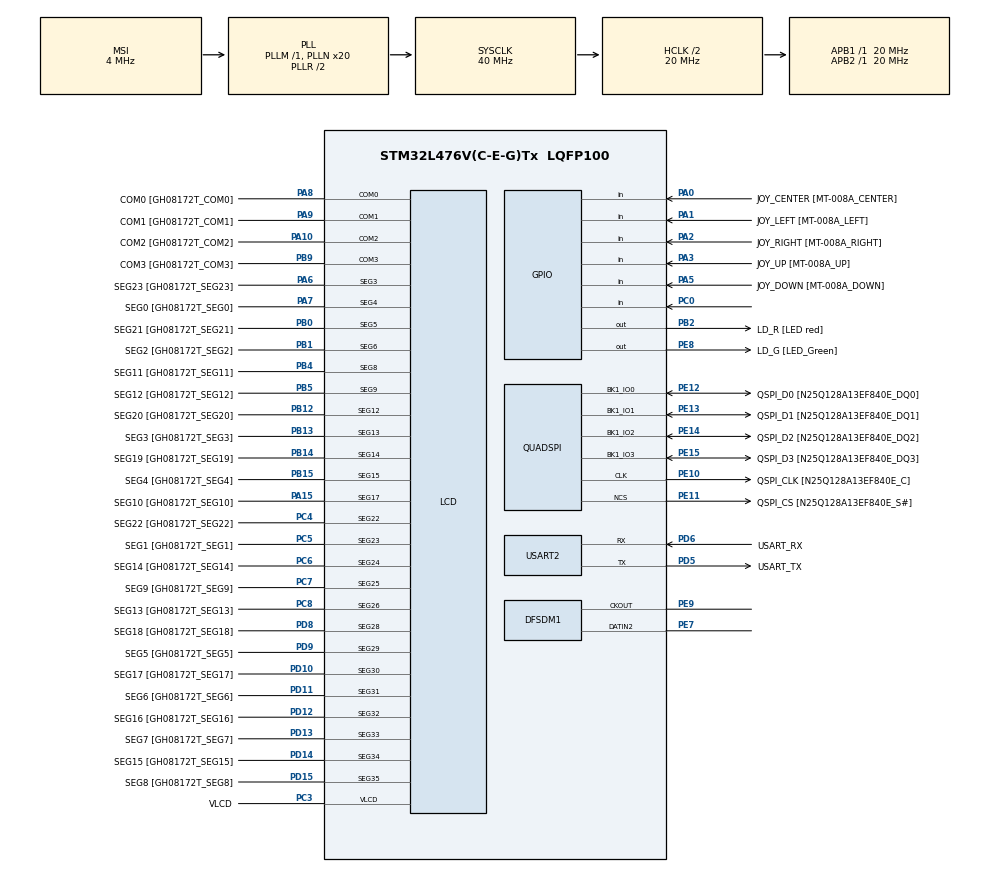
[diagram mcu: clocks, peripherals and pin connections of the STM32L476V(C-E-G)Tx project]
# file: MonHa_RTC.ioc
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DFSDM1.Divider=4
DFSDM1.DmaMode_reg_FIL0=ENABLE
DFSDM1.FastMode_reg_FIL0=ENABLE
DFSDM1.Filter_injChannel2_FIL0=DFSDM_CHANNEL_2
DFSDM1.Filter_regChannel_FIL0=DFSDM_CHANNEL_2
DFSDM1.Filter_regContinuousMode_FIL0=DFSDM_CONTINUOUS_CONV_ON
DFSDM1.Fosr_FIL0=64
DFSDM1.Oversampling_CH2=10
DFSDM1.RightBitShift_CH2=0x02
DFSDM1.ScanMode_inj_FIL0=ENABLE
DFSDM1.SincOrder_FIL0=DFSDM_FILTER_SINC3_ORDER
Dma.DFSDM1_FLT0.2.Direction=DMA_PERIPH_TO_MEMORY
Dma.DFSDM1_FLT0.2.Instance=DMA1_Channel4
Dma.DFSDM1_FLT0.2.MemDataAlignment=DMA_MDATAALIGN_WORD
Dma.DFSDM1_FLT0.2.MemInc=DMA_MINC_ENABLE
Dma.DFSDM1_FLT0.2.Mode=DMA_CIRCULAR
Dma.DFSDM1_FLT0.2.PeriphDataAlignment=DMA_PDATAALIGN_WORD
Dma.DFSDM1_FLT0.2.PeriphInc=DMA_PINC_DISABLE
Dma.DFSDM1_FLT0.2.Priority=DMA_PRIORITY_HIGH
Dma.Request0=USART2_RX
Dma.Request1=USART2_TX
Dma.Request2=DFSDM1_FLT0
Dma.USART2_RX.0.Direction=DMA_PERIPH_TO_MEMORY
Dma.USART2_RX.0.Instance=DMA1_Channel6
Dma.USART2_RX.0.MemDataAlignment=DMA_MDATAALIGN_BYTE
Dma.USART2_RX.0.MemInc=DMA_MINC_ENABLE
Dma.USART2_RX.0.Mode=DMA_NORMAL
Dma.USART2_RX.0.PeriphDataAlignment=DMA_PDATAALIGN_BYTE
Dma.USART2_RX.0.PeriphInc=DMA_PINC_DISABLE
Dma.USART2_RX.0.Priority=DMA_PRIORITY_LOW
Dma.USART2_TX.1.Direction=DMA_MEMORY_TO_PERIPH
Dma.USART2_TX.1.Instance=DMA1_Channel7
Dma.USART2_TX.1.MemDataAlignment=DMA_MDATAALIGN_BYTE
Dma.USART2_TX.1.MemInc=DMA_MINC_ENABLE
Dma.USART2_TX.1.Mode=DMA_NORMAL
Dma.USART2_TX.1.PeriphDataAlignment=DMA_PDATAALIGN_BYTE
Dma.USART2_TX.1.PeriphInc=DMA_PINC_DISABLE
Dma.USART2_TX.1.Priority=DMA_PRIORITY_LOW
Mcu.Family=STM32L4
Mcu.Name=STM32L476V(C-E-G)Tx
Mcu.Package=LQFP100
NVIC.DFSDM1_FLT0_IRQn=true\:0\:0\:false\:false\:true\:true\:true
NVIC.DMA1_Channel4_IRQn=true\:0\:0\:false\:false\:true\:false\:true
NVIC.DMA1_Channel6_IRQn=true\:0\:0\:false\:false\:true\:false\:true
NVIC.DMA1_Channel7_IRQn=true\:0\:0\:false\:false\:true\:false\:true
NVIC.PriorityGroup=NVIC_PRIORITYGROUP_4
PA0.GPIO_Label=JOY_CENTER [MT-008A_CENTER]
PA0.GPIO_Mode=GPIO_MODE_INPUT
PA0.GPIO_PuPd=GPIO_PULLDOWN
PA0.Signal=GPIO_Input
PA1.GPIO_Label=JOY_LEFT [MT-008A_LEFT]
PA1.GPIO_Mode=GPIO_MODE_INPUT
PA1.GPIO_PuPd=GPIO_PULLDOWN
PA1.Signal=GPIO_Input
PA10.GPIO_Label=COM2 [GH08172T_COM2]
PA10.GPIO_Mode=GPIO_MODE_AF_PP
PA10.GPIO_PuPd=GPIO_NOPULL
PA10.GPIO_Speed=GPIO_SPEED_FREQ_LOW
PA10.Mode=1/4 Duty Cycle
PA10.Signal=LCD_COM2
PA15\ (JTDI).GPIO_Label=SEG10 [GH08172T_SEG10]
PA15\ (JTDI).GPIO_Mode=GPIO_MODE_AF_PP
PA15\ (JTDI).GPIO_PuPd=GPIO_NOPULL
PA15\ (JTDI).GPIO_Speed=GPIO_SPEED_FREQ_LOW
PA15\ (JTDI).Mode=SEG17
PA15\ (JTDI).Signal=LCD_SEG17
PA2.GPIO_Label=JOY_RIGHT [MT-008A_RIGHT]
PA2.GPIO_Mode=GPIO_MODE_INPUT
PA2.GPIO_PuPd=GPIO_PULLDOWN
PA2.Signal=GPIO_Input
PA3.GPIO_Label=JOY_UP [MT-008A_UP]
PA3.GPIO_Mode=GPIO_MODE_INPUT
PA3.GPIO_PuPd=GPIO_PULLDOWN
PA3.Signal=GPIO_Input
PA5.GPIO_Label=JOY_DOWN [MT-008A_DOWN]
PA5.GPIO_Mode=GPIO_MODE_INPUT
PA5.GPIO_PuPd=GPIO_PULLDOWN
PA5.Signal=GPIO_Input
PA6.GPIO_Label=SEG23 [GH08172T_SEG23]
PA6.GPIO_Mode=GPIO_MODE_AF_PP
PA6.GPIO_PuPd=GPIO_NOPULL
PA6.GPIO_Speed=GPIO_SPEED_FREQ_LOW
PA6.Mode=SEG3
PA6.Signal=LCD_SEG3
PA7.GPIO_Label=SEG0 [GH08172T_SEG0]
PA7.GPIO_Mode=GPIO_MODE_AF_PP
PA7.GPIO_PuPd=GPIO_NOPULL
PA7.GPIO_Speed=GPIO_SPEED_FREQ_LOW
PA7.Mode=SEG4
PA7.Signal=LCD_SEG4
PA8.GPIO_Label=COM0 [GH08172T_COM0]
PA8.GPIO_Mode=GPIO_MODE_AF_PP
PA8.GPIO_PuPd=GPIO_NOPULL
PA8.GPIO_Speed=GPIO_SPEED_FREQ_LOW
PA8.Mode=1/4 Duty Cycle
PA8.Signal=LCD_COM0
PA9.GPIO_Label=COM1 [GH08172T_COM1]
PA9.GPIO_Mode=GPIO_MODE_AF_PP
PA9.GPIO_PuPd=GPIO_NOPULL
PA9.GPIO_Speed=GPIO_SPEED_FREQ_LOW
PA9.Mode=1/4 Duty Cycle
PA9.Signal=LCD_COM1
PB0.GPIO_Label=SEG21 [GH08172T_SEG21]
PB0.GPIO_Mode=GPIO_MODE_AF_PP
PB0.GPIO_PuPd=GPIO_NOPULL
PB0.GPIO_Speed=GPIO_SPEED_FREQ_LOW
PB0.Mode=SEG5
PB0.Signal=LCD_SEG5
PB1.GPIO_Label=SEG2 [GH08172T_SEG2]
PB1.GPIO_Mode=GPIO_MODE_AF_PP
PB1.GPIO_PuPd=GPIO_NOPULL
PB1.GPIO_Speed=GPIO_SPEED_FREQ_LOW
PB1.Mode=SEG6
PB1.Signal=LCD_SEG6
PB12.GPIO_Label=SEG20 [GH08172T_SEG20]
PB12.GPIO_Mode=GPIO_MODE_AF_PP
PB12.GPIO_PuPd=GPIO_NOPULL
PB12.GPIO_Speed=GPIO_SPEED_FREQ_LOW
PB12.Mode=SEG12
PB12.Signal=LCD_SEG12
PB13.GPIO_Label=SEG3 [GH08172T_SEG3]
PB13.GPIO_Mode=GPIO_MODE_AF_PP
PB13.GPIO_PuPd=GPIO_NOPULL
PB13.GPIO_Speed=GPIO_SPEED_FREQ_LOW
PB13.Mode=SEG13
PB13.Signal=LCD_SEG13
PB14.GPIO_Label=SEG19 [GH08172T_SEG19]
PB14.GPIO_Mode=GPIO_MODE_AF_PP
PB14.GPIO_PuPd=GPIO_NOPULL
PB14.GPIO_Speed=GPIO_SPEED_FREQ_LOW
PB14.Mode=SEG14
PB14.Signal=LCD_SEG14
PB15.GPIO_Label=SEG4 [GH08172T_SEG4]
PB15.GPIO_Mode=GPIO_MODE_AF_PP
PB15.GPIO_PuPd=GPIO_NOPULL
PB15.GPIO_Speed=GPIO_SPEED_FREQ_LOW
PB15.Mode=SEG15
PB15.Signal=LCD_SEG15
PB2.GPIO_Label=LD_R [LED red]
PB2.GPIO_ModeDefaultOutputPP=GPIO_MODE_OUTPUT_PP
PB2.GPIO_PuPd=GPIO_PULLUP
PB2.GPIO_Speed=GPIO_SPEED_FREQ_VERY_HIGH
PB2.Signal=GPIO_Output
PB4\ (NJTRST).GPIO_Label=SEG11 [GH08172T_SEG11]
PB4\ (NJTRST).GPIO_Mode=GPIO_MODE_AF_PP
PB4\ (NJTRST).GPIO_PuPd=GPIO_NOPULL
PB4\ (NJTRST).GPIO_Speed=GPIO_SPEED_FREQ_LOW
PB4\ (NJTRST).Mode=SEG8
PB4\ (NJTRST).Signal=LCD_SEG8
PB5.GPIO_Label=SEG12 [GH08172T_SEG12]
PB5.GPIO_Mode=GPIO_MODE_AF_PP
PB5.GPIO_PuPd=GPIO_NOPULL
PB5.GPIO_Speed=GPIO_SPEED_FREQ_LOW
PB5.Mode=SEG9
PB5.Signal=LCD_SEG9
PB9.GPIO_FM9=__NULL
PB9.GPIO_Label=COM3 [GH08172T_COM3]
PB9.GPIO_Mode=GPIO_MODE_AF_PP
PB9.GPIO_PuPd=GPIO_NOPULL
PB9.GPIO_Speed=GPIO_SPEED_FREQ_LOW
PB9.Mode=1/4 Duty Cycle
PB9.Signal=LCD_COM3
PC0.Signal=GPIO_Input
PC3.GPIO_Label=VLCD
PC3.GPIO_Mode=GPIO_MODE_AF_PP
PC3.GPIO_PuPd=GPIO_NOPULL
PC3.GPIO_Speed=GPIO_SPEED_FREQ_LOW
PC3.Mode=1/4 Duty Cycle
PC3.Signal=LCD_VLCD
PC4.GPIO_Label=SEG22 [GH08172T_SEG22]
PC4.GPIO_Mode=GPIO_MODE_AF_PP
PC4.GPIO_PuPd=GPIO_NOPULL
PC4.GPIO_Speed=GPIO_SPEED_FREQ_LOW
PC4.Mode=SEG22
PC4.Signal=LCD_SEG22
PC5.GPIO_Label=SEG1 [GH08172T_SEG1]
PC5.GPIO_Mode=GPIO_MODE_AF_PP
PC5.GPIO_PuPd=GPIO_NOPULL
PC5.GPIO_Speed=GPIO_SPEED_FREQ_LOW
PC5.Mode=SEG23
PC5.Signal=LCD_SEG23
PC6.GPIO_Label=SEG14 [GH08172T_SEG14]
PC6.GPIO_Mode=GPIO_MODE_AF_PP
PC6.GPIO_PuPd=GPIO_NOPULL
PC6.GPIO_Speed=GPIO_SPEED_FREQ_LOW
PC6.Mode=SEG24
PC6.Signal=LCD_SEG24
PC7.GPIO_Label=SEG9 [GH08172T_SEG9]
PC7.GPIO_Mode=GPIO_MODE_AF_PP
PC7.GPIO_PuPd=GPIO_NOPULL
PC7.GPIO_Speed=GPIO_SPEED_FREQ_LOW
PC7.Mode=SEG25
PC7.Signal=LCD_SEG25
PC8.GPIO_Label=SEG13 [GH08172T_SEG13]
PC8.GPIO_Mode=GPIO_MODE_AF_PP
PC8.GPIO_PuPd=GPIO_NOPULL
PC8.GPIO_Speed=GPIO_SPEED_FREQ_LOW
PC8.Mode=SEG26
PC8.Signal=LCD_SEG26
PD10.GPIO_Label=SEG17 [GH08172T_SEG17]
PD10.GPIO_Mode=GPIO_MODE_AF_PP
PD10.GPIO_PuPd=GPIO_NOPULL
PD10.GPIO_Speed=GPIO_SPEED_FREQ_LOW
PD10.Mode=SEG30
PD10.Signal=LCD_SEG30
PD11.GPIO_Label=SEG6 [GH08172T_SEG6]
PD11.GPIO_Mode=GPIO_MODE_AF_PP
PD11.GPIO_PuPd=GPIO_NOPULL
PD11.GPIO_Speed=GPIO_SPEED_FREQ_LOW
PD11.Mode=SEG31
PD11.Signal=LCD_SEG31
PD12.GPIO_Label=SEG16 [GH08172T_SEG16]
PD12.GPIO_Mode=GPIO_MODE_AF_PP
PD12.GPIO_PuPd=GPIO_NOPULL
PD12.GPIO_Speed=GPIO_SPEED_FREQ_LOW
PD12.Mode=SEG32
PD12.Signal=LCD_SEG32
PD13.GPIO_Label=SEG7 [GH08172T_SEG7]
PD13.GPIO_Mode=GPIO_MODE_AF_PP
PD13.GPIO_PuPd=GPIO_NOPULL
PD13.GPIO_Speed=GPIO_SPEED_FREQ_LOW
PD13.Mode=SEG33
PD13.Signal=LCD_SEG33
PD14.GPIO_Label=SEG15 [GH08172T_SEG15]
PD14.GPIO_Mode=GPIO_MODE_AF_PP
PD14.GPIO_PuPd=GPIO_NOPULL
PD14.GPIO_Speed=GPIO_SPEED_FREQ_LOW
PD14.Mode=SEG34
PD14.Signal=LCD_SEG34
PD15.GPIO_Label=SEG8 [GH08172T_SEG8]
PD15.GPIO_Mode=GPIO_MODE_AF_PP
PD15.GPIO_PuPd=GPIO_NOPULL
PD15.GPIO_Speed=GPIO_SPEED_FREQ_LOW
PD15.Mode=SEG35
PD15.Signal=LCD_SEG35
PD5.GPIO_Label=USART_TX
PD5.GPIO_Mode=GPIO_MODE_AF_PP
PD5.GPIO_PuPd=GPIO_PULLUP
PD5.GPIO_Speed=GPIO_SPEED_FREQ_VERY_HIGH
PD5.Mode=Asynchronous
PD5.Signal=USART2_TX
PD6.GPIO_Label=USART_RX
PD6.GPIO_Mode=GPIO_MODE_AF_PP
PD6.GPIO_PuPd=GPIO_PULLUP
PD6.GPIO_Speed=GPIO_SPEED_FREQ_VERY_HIGH
PD6.Mode=Asynchronous
PD6.Signal=USART2_RX
PD8.GPIO_Label=SEG18 [GH08172T_SEG18]
PD8.GPIO_Mode=GPIO_MODE_AF_PP
PD8.GPIO_PuPd=GPIO_NOPULL
PD8.GPIO_Speed=GPIO_SPEED_FREQ_LOW
PD8.Mode=SEG28
PD8.Signal=LCD_SEG28
PD9.GPIO_Label=SEG5 [GH08172T_SEG5]
PD9.GPIO_Mode=GPIO_MODE_AF_PP
PD9.GPIO_PuPd=GPIO_NOPULL
PD9.GPIO_Speed=GPIO_SPEED_FREQ_LOW
PD9.Mode=SEG29
PD9.Signal=LCD_SEG29
PE10.GPIO_Label=QSPI_CLK [N25Q128A13EF840E_C]
PE10.GPIO_Mode=GPIO_MODE_AF_PP
PE10.GPIO_PuPd=GPIO_NOPULL
PE10.GPIO_Speed=GPIO_SPEED_FREQ_VERY_HIGH
PE10.Mode=Single Bank
PE10.Signal=QUADSPI_CLK
PE11.GPIO_Label=QSPI_CS [N25Q128A13EF840E_S\#]
PE11.GPIO_Mode=GPIO_MODE_AF_PP
PE11.GPIO_PuPd=GPIO_NOPULL
PE11.GPIO_Speed=GPIO_SPEED_FREQ_VERY_HIGH
PE11.Mode=Single Bank
PE11.Signal=QUADSPI_NCS
PE12.GPIO_Label=QSPI_D0 [N25Q128A13EF840E_DQ0]
PE12.GPIO_Mode=GPIO_MODE_AF_PP
PE12.GPIO_PuPd=GPIO_NOPULL
PE12.GPIO_Speed=GPIO_SPEED_FREQ_VERY_HIGH
PE12.Mode=Single Bank
PE12.Signal=QUADSPI_BK1_IO0
PE13.GPIO_Label=QSPI_D1 [N25Q128A13EF840E_DQ1]
PE13.GPIO_Mode=GPIO_MODE_AF_PP
PE13.GPIO_PuPd=GPIO_NOPULL
PE13.GPIO_Speed=GPIO_SPEED_FREQ_VERY_HIGH
PE13.Mode=Single Bank
PE13.Signal=QUADSPI_BK1_IO1
PE14.GPIO_Label=QSPI_D2 [N25Q128A13EF840E_DQ2]
PE14.GPIO_Mode=GPIO_MODE_AF_PP
PE14.GPIO_PuPd=GPIO_NOPULL
PE14.GPIO_Speed=GPIO_SPEED_FREQ_VERY_HIGH
PE14.Mode=Single Bank
PE14.Signal=QUADSPI_BK1_IO2
PE15.GPIO_Label=QSPI_D3 [N25Q128A13EF840E_DQ3]
PE15.GPIO_Mode=GPIO_MODE_AF_PP
PE15.GPIO_PuPd=GPIO_NOPULL
PE15.GPIO_Speed=GPIO_SPEED_FREQ_VERY_HIGH
PE15.Mode=Single Bank
PE15.Signal=QUADSPI_BK1_IO3
PE7.GPIO_PuPd=GPIO_PULLDOWN
PE7.GPIO_Speed=GPIO_SPEED_FREQ_VERY_HIGH
PE7.Signal=S_DATAIN2DFSDM1
PE8.GPIO_Label=LD_G [LED_Green]
PE8.GPIO_ModeDefaultOutputPP=GPIO_MODE_OUTPUT_PP
PE8.GPIO_PuPd=GPIO_PULLUP
PE8.GPIO_Speed=GPIO_SPEED_FREQ_VERY_HIGH
PE8.Signal=GPIO_Output
PE9.GPIO_PuPd=GPIO_PULLDOWN
PE9.GPIO_Speed=GPIO_SPEED_FREQ_VERY_HIGH
PE9.Signal=S_CKOUTDFSDM1
ProjectManager.HeapSize=0x200
ProjectManager.StackSize=0x400
ProjectManager.TargetToolchain=TrueSTUDIO
RCC.ADCFreq_Value=144000000
RCC.AHBCLKDivider=RCC_SYSCLK_DIV2
RCC.AHBFreq_Value=20000000
RCC.APB1Freq_Value=20000000
RCC.APB1TimFreq_Value=20000000
RCC.APB2Freq_Value=20000000
RCC.APB2TimFreq_Value=20000000
RCC.CortexFreq_Value=20000000
RCC.HCLKFreq_Value=20000000
RCC.HSE_VALUE=8000000
RCC.HSI_VALUE=16000000
RCC.LSE_VALUE=32768
RCC.MSI_VALUE=4000000
RCC.PLLN=20
RCC.PLLSAI1N=72
RCC.PREFETCH_ENABLE=1
RCC.SYSCLKFreq_VALUE=40000000
RCC.SYSCLKSource=RCC_SYSCLKSOURCE_PLLCLK
RCC.USBFreq_Value=144000000
RCC.VCOOutputFreq_Value=80000000
RTC.Date=23
RTC.Format=RTC_FORMAT_BIN
RTC.Hours=23
RTC.Minutes=59
RTC.Month=RTC_MONTH_APRIL
RTC.Seconds=50
RTC.WeekDay=RTC_WEEKDAY_WEDNESDAY
RTC.Year=19
SH.S_CKOUTDFSDM1.0=DFSDM1_CKOUT,PDM_SPI_input_from_ch2_and_internal_clock
SH.S_CKOUTDFSDM1.1=DFSDM1_CKOUT
SH.S_DATAIN2DFSDM1.0=DFSDM1_DATIN2,PDM_SPI_input_from_ch2_and_internal_clock
USART2.VirtualMode-Asynchronous=VM_ASYNC
VP_RTC_VS_RTC_Activate.Mode=RTC_Enabled
VP_RTC_VS_RTC_Calendar.Mode=RTC_Calendar
board=32L476GDISCOVERY

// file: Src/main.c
/* USER CODE BEGIN Header */
/**
 ******************************************************************************
 * @file           : main.c
 * @brief          : Main program body
 ******************************************************************************
 * @attention
 *
 * <h2><center>&copy; Copyright (c) 2019 STMicroelectronics.
 * All rights reserved.</center></h2>
 *
 * This software component is licensed by ST under BSD 3-Clause license,
 * the "License"; You may not use this file except in compliance with the
 * License. You may obtain a copy of the License at:
 *                        opensource.org/licenses/BSD-3-Clause
 *
 ******************************************************************************
 */
/* USER CODE END Header */

#include "main.h"

/* USER CODE BEGIN PM */
#define SaturaLH(N, L, H) (((N)<(L))?(L):(((N)>(H))?(H):(N)))
/* USER CODE END PM */

DFSDM_Filter_HandleTypeDef hdfsdm1_filter0;
DFSDM_Channel_HandleTypeDef hdfsdm1_channel2;
DMA_HandleTypeDef hdma_dfsdm1_flt0;

LCD_HandleTypeDef hlcd;

QSPI_HandleTypeDef hqspi;

RTC_HandleTypeDef hrtc;

UART_HandleTypeDef huart2;
DMA_HandleTypeDef hdma_usart2_rx;
DMA_HandleTypeDef hdma_usart2_tx;

/* USER CODE BEGIN PV */
RTC_DateTypeDef RTC_Calendar;
RTC_TimeTypeDef RTC_Time;
/* USER CODE END PV */

void SystemClock_Config(void);
static void MX_GPIO_Init(void);
static void MX_DMA_Init(void);
static void MX_LCD_Init(void);
static void MX_QUADSPI_Init(void);
static void MX_USART2_UART_Init(void);
static void MX_RTC_Init(void);
static void MX_DFSDM1_Init(void);
/* USER CODE BEGIN PFP */
//int _write(int file, char *ptr, int len);
/* USER CODE END PFP */

/* USER CODE BEGIN 0 */
//*******************************************************************************
//funkcja                                 		_write_uart()
int _write(int file, char *ptr, int len) {
	HAL_UART_Transmit(&huart2, ptr, len, 50);
	return len;
}
/* USER CODE END 0 */

int main(void)
{
  /* USER CODE BEGIN 1 */
	uint8_t data[50];
	uint16_t size = 0;
	int64_t temp1 = 0, temp2 = 0, max;
	int rtcval[10];
	int temp=10;

	int32_t RecBuff[2048];
	int16_t PlayBuff[4096];
  /* USER CODE END 1 */

  /* MCU Configuration--------------------------------------------------------*/

  /* Reset of all peripherals, Initializes the Flash interface and the Systick. */
  HAL_Init();

  /* Configure the system clock */
  SystemClock_Config();

  /* Initialize all configured peripherals */
  MX_GPIO_Init();
  MX_DMA_Init();
  MX_LCD_Init();
  MX_QUADSPI_Init();
  MX_USART2_UART_Init();
  MX_RTC_Init();
  MX_DFSDM1_Init();
  /* USER CODE BEGIN 2 */

	RTC_Calendar.Year = 19;
	RTC_Calendar.Month = 04;
	RTC_Calendar.Date = 23;

	HAL_RTC_SetDate(&hrtc, &RTC_Calendar, RTC_FORMAT_BIN);

	HAL_RTC_GetTime(&hrtc, &RTC_Time, RTC_FORMAT_BIN);

	RTC_Time.Hours = 23;
	RTC_Time.Minutes = 59;
	RTC_Time.Seconds = 50;

	HAL_RTC_SetTime(&hrtc, &RTC_Time, RTC_FORMAT_BIN);

	/* Start DFSDM conversions */
	if (HAL_OK
			!= HAL_DFSDM_FilterRegularStart_DMA(&hdfsdm1_filter0, RecBuff,
					2048)) {
		Error_Handler();
	}
	/* Start DFSDM conversions */
	/* if(HAL_OK != HAL_DFSDM_FilterRegularStart_DMA(&hdfsdm1_filter0, RecBuff, 2048))
	 {
	 Error_Handler();
	 }*/
	HAL_GPIO_TogglePin(LD_R_GPIO_Port, LD_R_Pin);
	HAL_Delay(2000);
	HAL_GPIO_TogglePin(LD_G_GPIO_Port, LD_G_Pin);
	HAL_GPIO_TogglePin(LD_R_GPIO_Port, LD_R_Pin);
	printf("diza³a\r\n");
	printf("test %d\r\n", temp1);
  /* USER CODE END 2 */

  /* Infinite loop */
	while (1) {

		if (temp=!0)temp--;
    /* USER CODE BEGIN 3 */
		HAL_RTC_GetTime(&hrtc, &RTC_Time, RTC_FORMAT_BIN); //pobranie do RTC_Time czasu
		HAL_RTC_GetDate(&hrtc, &RTC_Calendar, RTC_FORMAT_BIN); //pobranie do RTC_Calendar daty
//	  printf("Czas rtc: %dh\t%dm\t%ds \t  Data rtc:%d.%d.20%d\r\n",RTC_Time.Hours,RTC_Time.Minutes,RTC_Time.Seconds,RTC_Calendar.Date,RTC_Calendar.Month,RTC_Calendar.Year);

		HAL_GPIO_TogglePin(LD_G_GPIO_Port, LD_G_Pin);
		max=0;

		for (int var = 0; var < 2048; ++var) {
			if (RecBuff[var]>max)
			{
				max=RecBuff[var];
			}

		}

		//for(temp1=0;temp1<2048;temp1++) {printf("%d\n ", RecBuff[temp1]);}
		//for(temp1=0;temp1<2048;temp1++){
//			HAL_Delay(1);
		//temp2+=RecBuff[temp1];}
		//temp2/=2048;

		if (temp==0) if (max>3000000)
		{
			temp=max;
		HAL_GPIO_TogglePin(LD_R_GPIO_Port, LD_R_Pin);
		HAL_Delay(1000);
		printf("detected %d\n", temp);
		}

/*
		temp1 = RecBuff[0];
		printf("%d \t Czas rtc: %dh\t%dm\t%ds \t  Data rtc:%d.%d.20%d\n", temp1,
				RTC_Time.Hours, RTC_Time.Minutes, RTC_Time.Seconds,
				RTC_Calendar.Date, RTC_Calendar.Month, RTC_Calendar.Year);
				*/

		HAL_Delay(100);
	}
  /* USER CODE END 3 */
}

void SystemClock_Config(void)
{
  RCC_OscInitTypeDef RCC_OscInitStruct = {0};
  RCC_ClkInitTypeDef RCC_ClkInitStruct = {0};
  RCC_PeriphCLKInitTypeDef PeriphClkInit = {0};

  /** Initializes the CPU, AHB and APB busses clocks
  */
  RCC_OscInitStruct.OscillatorType = RCC_OSCILLATORTYPE_LSI|RCC_OSCILLATORTYPE_MSI;
  RCC_OscInitStruct.LSIState = RCC_LSI_ON;
  RCC_OscInitStruct.MSIState = RCC_MSI_ON;
  RCC_OscInitStruct.MSICalibrationValue = 0;
  RCC_OscInitStruct.MSIClockRange = RCC_MSIRANGE_6;
  RCC_OscInitStruct.PLL.PLLState = RCC_PLL_ON;
  RCC_OscInitStruct.PLL.PLLSource = RCC_PLLSOURCE_MSI;
  RCC_OscInitStruct.PLL.PLLM = 1;
  RCC_OscInitStruct.PLL.PLLN = 20;
  RCC_OscInitStruct.PLL.PLLP = RCC_PLLP_DIV7;
  RCC_OscInitStruct.PLL.PLLQ = RCC_PLLQ_DIV2;
  RCC_OscInitStruct.PLL.PLLR = RCC_PLLR_DIV2;
  if (HAL_RCC_OscConfig(&RCC_OscInitStruct) != HAL_OK)
  {
    Error_Handler();
  }
  /** Initializes the CPU, AHB and APB busses clocks
  */
  RCC_ClkInitStruct.ClockType = RCC_CLOCKTYPE_HCLK|RCC_CLOCKTYPE_SYSCLK
                              |RCC_CLOCKTYPE_PCLK1|RCC_CLOCKTYPE_PCLK2;
  RCC_ClkInitStruct.SYSCLKSource = RCC_SYSCLKSOURCE_PLLCLK;
  RCC_ClkInitStruct.AHBCLKDivider = RCC_SYSCLK_DIV2;
  RCC_ClkInitStruct.APB1CLKDivider = RCC_HCLK_DIV1;
  RCC_ClkInitStruct.APB2CLKDivider = RCC_HCLK_DIV1;

  if (HAL_RCC_ClockConfig(&RCC_ClkInitStruct, FLASH_LATENCY_1) != HAL_OK)
  {
    Error_Handler();
  }
  PeriphClkInit.PeriphClockSelection = RCC_PERIPHCLK_RTC|RCC_PERIPHCLK_USART2
                              |RCC_PERIPHCLK_DFSDM1;
  PeriphClkInit.Usart2ClockSelection = RCC_USART2CLKSOURCE_PCLK1;
  PeriphClkInit.Dfsdm1ClockSelection = RCC_DFSDM1CLKSOURCE_PCLK;
  PeriphClkInit.RTCClockSelection = RCC_RTCCLKSOURCE_LSI;
  if (HAL_RCCEx_PeriphCLKConfig(&PeriphClkInit) != HAL_OK)
  {
    Error_Handler();
  }
  /** Configure the main internal regulator output voltage
  */
  if (HAL_PWREx_ControlVoltageScaling(PWR_REGULATOR_VOLTAGE_SCALE1) != HAL_OK)
  {
    Error_Handler();
  }
}

static void MX_DFSDM1_Init(void)
{

  hdfsdm1_filter0.Instance = DFSDM1_Filter0;
  hdfsdm1_filter0.Init.RegularParam.Trigger = DFSDM_FILTER_SW_TRIGGER;
  hdfsdm1_filter0.Init.RegularParam.FastMode = ENABLE;
  hdfsdm1_filter0.Init.RegularParam.DmaMode = ENABLE;
  hdfsdm1_filter0.Init.InjectedParam.Trigger = DFSDM_FILTER_SW_TRIGGER;
  hdfsdm1_filter0.Init.InjectedParam.ScanMode = ENABLE;
  hdfsdm1_filter0.Init.InjectedParam.DmaMode = DISABLE;
  hdfsdm1_filter0.Init.InjectedParam.ExtTrigger = DFSDM_FILTER_EXT_TRIG_TIM1_TRGO;
  hdfsdm1_filter0.Init.InjectedParam.ExtTriggerEdge = DFSDM_FILTER_EXT_TRIG_RISING_EDGE;
  hdfsdm1_filter0.Init.FilterParam.SincOrder = DFSDM_FILTER_SINC3_ORDER;
  hdfsdm1_filter0.Init.FilterParam.Oversampling = 64;
  hdfsdm1_filter0.Init.FilterParam.IntOversampling = 1;
  if (HAL_DFSDM_FilterInit(&hdfsdm1_filter0) != HAL_OK)
  {
    Error_Handler();
  }
  hdfsdm1_channel2.Instance = DFSDM1_Channel2;
  hdfsdm1_channel2.Init.OutputClock.Activation = ENABLE;
  hdfsdm1_channel2.Init.OutputClock.Selection = DFSDM_CHANNEL_OUTPUT_CLOCK_SYSTEM;
  hdfsdm1_channel2.Init.OutputClock.Divider = 4;
  hdfsdm1_channel2.Init.Input.Multiplexer = DFSDM_CHANNEL_EXTERNAL_INPUTS;
  hdfsdm1_channel2.Init.Input.DataPacking = DFSDM_CHANNEL_STANDARD_MODE;
  hdfsdm1_channel2.Init.Input.Pins = DFSDM_CHANNEL_SAME_CHANNEL_PINS;
  hdfsdm1_channel2.Init.SerialInterface.Type = DFSDM_CHANNEL_SPI_RISING;
  hdfsdm1_channel2.Init.SerialInterface.SpiClock = DFSDM_CHANNEL_SPI_CLOCK_INTERNAL;
  hdfsdm1_channel2.Init.Awd.FilterOrder = DFSDM_CHANNEL_FASTSINC_ORDER;
  hdfsdm1_channel2.Init.Awd.Oversampling = 10;
  hdfsdm1_channel2.Init.Offset = 0;
  hdfsdm1_channel2.Init.RightBitShift = 0x02;
  if (HAL_DFSDM_ChannelInit(&hdfsdm1_channel2) != HAL_OK)
  {
    Error_Handler();
  }
  if (HAL_DFSDM_FilterConfigRegChannel(&hdfsdm1_filter0, DFSDM_CHANNEL_2, DFSDM_CONTINUOUS_CONV_ON) != HAL_OK)
  {
    Error_Handler();
  }
  if (HAL_DFSDM_FilterConfigInjChannel(&hdfsdm1_filter0, DFSDM_CHANNEL_2) != HAL_OK)
  {
    Error_Handler();
  }

}

static void MX_LCD_Init(void)
{

  hlcd.Instance = LCD;
  hlcd.Init.Prescaler = LCD_PRESCALER_1;
  hlcd.Init.Divider = LCD_DIVIDER_16;
  hlcd.Init.Duty = LCD_DUTY_1_4;
  hlcd.Init.Bias = LCD_BIAS_1_4;
  hlcd.Init.VoltageSource = LCD_VOLTAGESOURCE_INTERNAL;
  hlcd.Init.Contrast = LCD_CONTRASTLEVEL_0;
  hlcd.Init.DeadTime = LCD_DEADTIME_0;
  hlcd.Init.PulseOnDuration = LCD_PULSEONDURATION_0;
  hlcd.Init.MuxSegment = LCD_MUXSEGMENT_DISABLE;
  hlcd.Init.BlinkMode = LCD_BLINKMODE_OFF;
  hlcd.Init.BlinkFrequency = LCD_BLINKFREQUENCY_DIV8;
  hlcd.Init.HighDrive = LCD_HIGHDRIVE_DISABLE;
  if (HAL_LCD_Init(&hlcd) != HAL_OK)
  {
    Error_Handler();
  }

}

static void MX_QUADSPI_Init(void)
{

  /* QUADSPI parameter configuration*/
  hqspi.Instance = QUADSPI;
  hqspi.Init.ClockPrescaler = 255;
  hqspi.Init.FifoThreshold = 1;
  hqspi.Init.SampleShifting = QSPI_SAMPLE_SHIFTING_NONE;
  hqspi.Init.FlashSize = 1;
  hqspi.Init.ChipSelectHighTime = QSPI_CS_HIGH_TIME_1_CYCLE;
  hqspi.Init.ClockMode = QSPI_CLOCK_MODE_0;
  if (HAL_QSPI_Init(&hqspi) != HAL_OK)
  {
    Error_Handler();
  }

}

static void MX_RTC_Init(void)
{

  RTC_TimeTypeDef sTime = {0};
  RTC_DateTypeDef sDate = {0};

  /** Initialize RTC Only
  */
  hrtc.Instance = RTC;
  hrtc.Init.HourFormat = RTC_HOURFORMAT_24;
  hrtc.Init.AsynchPrediv = 127;
  hrtc.Init.SynchPrediv = 255;
  hrtc.Init.OutPut = RTC_OUTPUT_DISABLE;
  hrtc.Init.OutPutRemap = RTC_OUTPUT_REMAP_NONE;
  hrtc.Init.OutPutPolarity = RTC_OUTPUT_POLARITY_HIGH;
  hrtc.Init.OutPutType = RTC_OUTPUT_TYPE_OPENDRAIN;
  if (HAL_RTC_Init(&hrtc) != HAL_OK)
  {
    Error_Handler();
  }

  /** Initialize RTC and set the Time and Date
  */
  sTime.Hours = 23;
  sTime.Minutes = 59;
  sTime.Seconds = 50;
  sTime.DayLightSaving = RTC_DAYLIGHTSAVING_NONE;
  sTime.StoreOperation = RTC_STOREOPERATION_RESET;
  if (HAL_RTC_SetTime(&hrtc, &sTime, RTC_FORMAT_BIN) != HAL_OK)
  {
    Error_Handler();
  }
  sDate.WeekDay = RTC_WEEKDAY_WEDNESDAY;
  sDate.Month = RTC_MONTH_APRIL;
  sDate.Date = 23;
  sDate.Year = 19;

  if (HAL_RTC_SetDate(&hrtc, &sDate, RTC_FORMAT_BIN) != HAL_OK)
  {
    Error_Handler();
  }

}

static void MX_USART2_UART_Init(void)
{

  huart2.Instance = USART2;
  huart2.Init.BaudRate = 115200;
  huart2.Init.WordLength = UART_WORDLENGTH_8B;
  huart2.Init.StopBits = UART_STOPBITS_1;
  huart2.Init.Parity = UART_PARITY_NONE;
  huart2.Init.Mode = UART_MODE_TX_RX;
  huart2.Init.HwFlowCtl = UART_HWCONTROL_NONE;
  huart2.Init.OverSampling = UART_OVERSAMPLING_16;
  huart2.Init.OneBitSampling = UART_ONE_BIT_SAMPLE_DISABLE;
  huart2.AdvancedInit.AdvFeatureInit = UART_ADVFEATURE_NO_INIT;
  if (HAL_UART_Init(&huart2) != HAL_OK)
  {
    Error_Handler();
  }

}

static void MX_DMA_Init(void)
{
  /* DMA controller clock enable */
  __HAL_RCC_DMA1_CLK_ENABLE();

  /* DMA interrupt init */
  /* DMA1_Channel4_IRQn interrupt configuration */
  HAL_NVIC_SetPriority(DMA1_Channel4_IRQn, 0, 0);
  HAL_NVIC_EnableIRQ(DMA1_Channel4_IRQn);
  /* DMA1_Channel6_IRQn interrupt configuration */
  HAL_NVIC_SetPriority(DMA1_Channel6_IRQn, 0, 0);
  HAL_NVIC_EnableIRQ(DMA1_Channel6_IRQn);
  /* DMA1_Channel7_IRQn interrupt configuration */
  HAL_NVIC_SetPriority(DMA1_Channel7_IRQn, 0, 0);
  HAL_NVIC_EnableIRQ(DMA1_Channel7_IRQn);

}

static void MX_GPIO_Init(void)
{
  GPIO_InitTypeDef GPIO_InitStruct = {0};

  /* GPIO Ports Clock Enable */
  __HAL_RCC_GPIOC_CLK_ENABLE();
  __HAL_RCC_GPIOA_CLK_ENABLE();
  __HAL_RCC_GPIOB_CLK_ENABLE();
  __HAL_RCC_GPIOE_CLK_ENABLE();
  __HAL_RCC_GPIOD_CLK_ENABLE();

  /*Configure GPIO pin Output Level */
  HAL_GPIO_WritePin(LD_R_GPIO_Port, LD_R_Pin, GPIO_PIN_RESET);

  /*Configure GPIO pin Output Level */
  HAL_GPIO_WritePin(LD_G_GPIO_Port, LD_G_Pin, GPIO_PIN_RESET);

  /*Configure GPIO pin : PC0 */
  GPIO_InitStruct.Pin = GPIO_PIN_0;
  GPIO_InitStruct.Mode = GPIO_MODE_INPUT;
  GPIO_InitStruct.Pull = GPIO_NOPULL;
  HAL_GPIO_Init(GPIOC, &GPIO_InitStruct);

  /*Configure GPIO pins : JOY_CENTER_Pin JOY_LEFT_Pin JOY_RIGHT_Pin JOY_UP_Pin
                           JOY_DOWN_Pin */
  GPIO_InitStruct.Pin = JOY_CENTER_Pin|JOY_LEFT_Pin|JOY_RIGHT_Pin|JOY_UP_Pin
                          |JOY_DOWN_Pin;
  GPIO_InitStruct.Mode = GPIO_MODE_INPUT;
  GPIO_InitStruct.Pull = GPIO_PULLDOWN;
  HAL_GPIO_Init(GPIOA, &GPIO_InitStruct);

  /*Configure GPIO pin : LD_R_Pin */
  GPIO_InitStruct.Pin = LD_R_Pin;
  GPIO_InitStruct.Mode = GPIO_MODE_OUTPUT_PP;
  GPIO_InitStruct.Pull = GPIO_PULLUP;
  GPIO_InitStruct.Speed = GPIO_SPEED_FREQ_VERY_HIGH;
  HAL_GPIO_Init(LD_R_GPIO_Port, &GPIO_InitStruct);

  /*Configure GPIO pin : LD_G_Pin */
  GPIO_InitStruct.Pin = LD_G_Pin;
  GPIO_InitStruct.Mode = GPIO_MODE_OUTPUT_PP;
  GPIO_InitStruct.Pull = GPIO_PULLUP;
  GPIO_InitStruct.Speed = GPIO_SPEED_FREQ_VERY_HIGH;
  HAL_GPIO_Init(LD_G_GPIO_Port, &GPIO_InitStruct);

}

void Error_Handler(void)
{
}

/************************ (C) COPYRIGHT STMicroelectronics *****END OF FILE****/
